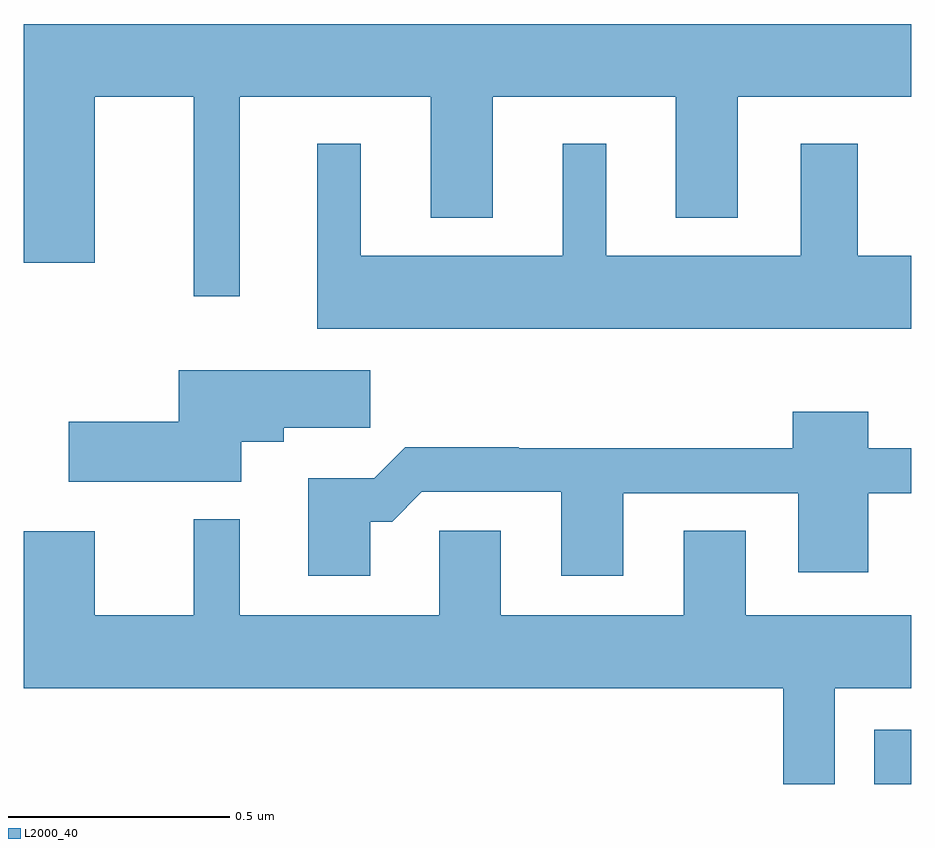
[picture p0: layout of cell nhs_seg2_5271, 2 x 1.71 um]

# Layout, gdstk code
import gdstk
lib = gdstk.Library(unit=1e-6, precision=1e-09)
def R(c, l, rs):  # rectangles x0, y0, x1, y1
    for r in rs: c.add(gdstk.rectangle(r[:2], r[2:], *l))
def P(c, l, *ps):  # polygons
    for p in ps: c.add(gdstk.Polygon(p, *l))
L2000_40 = (2000, 40)

nhs_seg2_5271 = lib.new_cell('nhs_seg2_5271')
R(nhs_seg2_5271, L2000_40, [(178.916,600.8,179,600.922)])
P(nhs_seg2_5271, L2000_40, [(177.487,602.348),(177.917,602.348),(177.917,602.075),(178.057,602.075),(178.057,602.348),(178.469,602.348),(178.469,602.075),(178.609,602.075),(178.609,602.348),(179,602.348),(179,602.512),(177,602.512),(177,601.974),(177.16,601.974),(177.16,602.348),(177.383,602.348),(177.383,601.899),(177.487,601.899)],
  [(179,601.99),(178.879,601.99),(178.879,602.242),(178.751,602.242),(178.751,601.99),(178.312,601.99),(178.312,602.242),(178.214,602.242),(178.214,601.99),(177.76,601.99),(177.76,602.242),(177.662,602.242),(177.662,601.826),(179,601.826)],
  [(177.49,601.571),(177.586,601.571),(177.586,601.603),(177.781,601.603),(177.781,601.732),(177.35,601.732),(177.35,601.616),(177.102,601.616),(177.102,601.481),(177.49,601.481)],
  [(177.781,601.391),(177.83,601.391),(177.897,601.458),(178.211,601.458),(178.211,601.269),(178.351,601.269),(178.351,601.455),(178.745,601.455),(178.745,601.277),(178.903,601.277),(178.903,601.455),(179,601.455),(179,601.556),(178.903,601.556),(178.903,601.639),(178.733,601.639),(178.733,601.556),(178.115,601.556),(178.115,601.559),(177.86,601.559),(177.79,601.489),(177.641,601.489),(177.641,601.269),(177.781,601.269)],
  [(178.827,601.016),(179,601.016),(179,601.18),(178.627,601.18),(178.627,601.37),(178.487,601.37),(178.487,601.18),(178.075,601.18),(178.075,601.37),(177.936,601.37),(177.936,601.18),(177.487,601.18),(177.487,601.396),(177.383,601.396),(177.383,601.18),(177.16,601.18),(177.16,601.369),(177,601.369),(177,601.016),(178.711,601.016),(178.711,600.8),(178.827,600.8)])

lib.write_gds('nhs_seg2_5271.gds')
